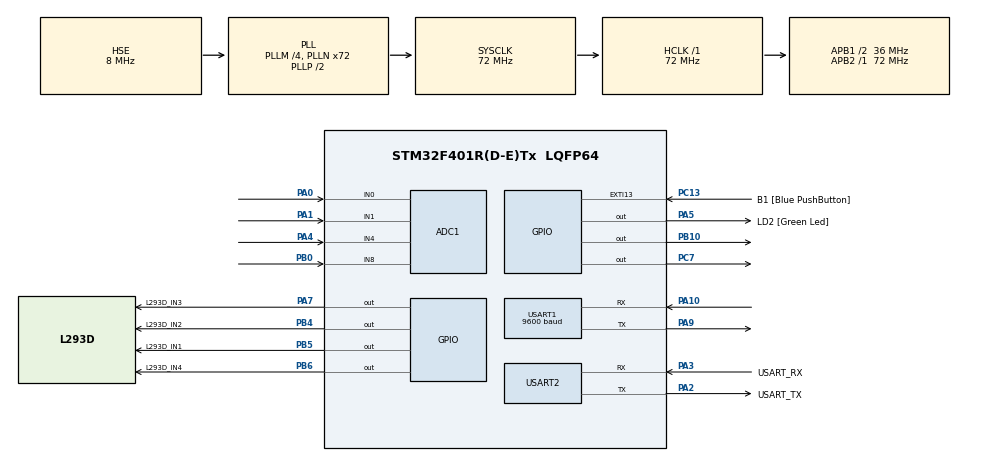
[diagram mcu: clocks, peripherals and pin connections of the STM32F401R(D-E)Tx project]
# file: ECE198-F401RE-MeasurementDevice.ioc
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ADC1.Channel-0\#ChannelRegularConversion=ADC_CHANNEL_0
ADC1.Channel-1\#ChannelRegularConversion=ADC_CHANNEL_1
ADC1.Channel-2\#ChannelRegularConversion=ADC_CHANNEL_4
ADC1.Channel-3\#ChannelRegularConversion=ADC_CHANNEL_8
ADC1.ContinuousConvMode=ENABLE
ADC1.EOCSelection=ADC_EOC_SEQ_CONV
ADC1.NbrOfConversion=4
ADC1.NbrOfConversionFlag=1
ADC1.Rank-0\#ChannelRegularConversion=1
ADC1.Rank-1\#ChannelRegularConversion=2
ADC1.Rank-2\#ChannelRegularConversion=3
ADC1.Rank-3\#ChannelRegularConversion=4
ADC1.SamplingTime-0\#ChannelRegularConversion=ADC_SAMPLETIME_3CYCLES
ADC1.SamplingTime-1\#ChannelRegularConversion=ADC_SAMPLETIME_3CYCLES
ADC1.SamplingTime-2\#ChannelRegularConversion=ADC_SAMPLETIME_3CYCLES
ADC1.SamplingTime-3\#ChannelRegularConversion=ADC_SAMPLETIME_3CYCLES
ADC1.ScanConvMode=ENABLE
ADC1.master=1
Mcu.Family=STM32F4
Mcu.Name=STM32F401R(D-E)Tx
Mcu.Package=LQFP64
NVIC.PriorityGroup=NVIC_PRIORITYGROUP_0
PA0-WKUP.Signal=ADCx_IN0
PA1.Signal=ADCx_IN1
PA10.Mode=Asynchronous
PA10.Signal=USART1_RX
PA13.GPIO_Label=TMS
PA13.Mode=Serial_Wire
PA13.Signal=SYS_JTMS-SWDIO
PA14.GPIO_Label=TCK
PA14.Mode=Serial_Wire
PA14.Signal=SYS_JTCK-SWCLK
PA2.GPIO_Label=USART_TX
PA2.GPIO_Mode=GPIO_MODE_AF_PP
PA2.GPIO_PuPd=GPIO_NOPULL
PA2.GPIO_Speed=GPIO_SPEED_FREQ_LOW
PA2.Mode=Asynchronous
PA2.Signal=USART2_TX
PA3.GPIO_Label=USART_RX
PA3.GPIO_Mode=GPIO_MODE_AF_PP
PA3.GPIO_PuPd=GPIO_NOPULL
PA3.GPIO_Speed=GPIO_SPEED_FREQ_LOW
PA3.Mode=Asynchronous
PA3.Signal=USART2_RX
PA4.Signal=ADCx_IN4
PA5.GPIO_Label=LD2 [Green Led]
PA5.GPIO_Mode=GPIO_MODE_OUTPUT_PP
PA5.GPIO_PuPd=GPIO_NOPULL
PA5.GPIO_Speed=GPIO_SPEED_FREQ_LOW
PA5.Signal=GPIO_Output
PA7.GPIO_Label=L293D_IN3
PA7.Signal=GPIO_Output
PA9.Mode=Asynchronous
PA9.Signal=USART1_TX
PB0.Signal=ADCx_IN8
PB10.Signal=GPIO_Output
PB3.GPIO_Label=SWO
PB3.Signal=SYS_JTDO-SWO
PB4.GPIO_Label=L293D_IN2
PB4.Signal=GPIO_Output
PB5.GPIO_Label=L293D_IN1
PB5.Signal=GPIO_Output
PB6.GPIO_Label=L293D_IN4
PB6.Signal=GPIO_Output
PC13-ANTI_TAMP.GPIO_Label=B1 [Blue PushButton]
PC13-ANTI_TAMP.GPIO_ModeDefaultEXTI=GPIO_MODE_IT_FALLING
PC13-ANTI_TAMP.GPIO_PuPd=GPIO_NOPULL
PC13-ANTI_TAMP.Signal=GPXTI13
PC14-OSC32_IN.Mode=LSE-External-Oscillator
PC14-OSC32_IN.Signal=RCC_OSC32_IN
PC15-OSC32_OUT.Mode=LSE-External-Oscillator
PC15-OSC32_OUT.Signal=RCC_OSC32_OUT
PC7.Signal=GPIO_Output
PH0\ -\ OSC_IN.Mode=HSE-External-Oscillator
PH0\ -\ OSC_IN.Signal=RCC_OSC_IN
PH1\ -\ OSC_OUT.Mode=HSE-External-Oscillator
PH1\ -\ OSC_OUT.Signal=RCC_OSC_OUT
ProjectManager.HeapSize=0x200
ProjectManager.StackSize=0x400
ProjectManager.TargetToolchain=STM32CubeIDE
RCC.48MHZClocksFreq_Value=20571428.57142857
RCC.AHBFreq_Value=72000000
RCC.APB1CLKDivider=RCC_HCLK_DIV2
RCC.APB1Freq_Value=36000000
RCC.APB1TimFreq_Value=72000000
RCC.APB2Freq_Value=72000000
RCC.APB2TimFreq_Value=72000000
RCC.CortexFreq_Value=72000000
RCC.HCLKFreq_Value=72000000
RCC.HSE_VALUE=8000000
RCC.HSI_VALUE=16000000
RCC.PLLM=4
RCC.PLLN=72
RCC.PLLQ=7
RCC.PLLSourceVirtual=RCC_PLLSOURCE_HSE
RCC.SYSCLKFreq_VALUE=72000000
RCC.SYSCLKSource=RCC_SYSCLKSOURCE_PLLCLK
RCC.VCOOutputFreq_Value=144000000
SH.ADCx_IN0.0=ADC1_IN0,IN0
SH.ADCx_IN1.0=ADC1_IN1,IN1
SH.ADCx_IN4.0=ADC1_IN4,IN4
SH.ADCx_IN8.0=ADC1_IN8,IN8
USART1.BaudRate=9600
USART1.VirtualMode=VM_ASYNC
USART2.VirtualMode=VM_ASYNC
board=NUCLEO-F401RE

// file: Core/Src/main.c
/* USER CODE BEGIN Header */
/**
  ******************************************************************************
  * @file           : main.c
  * @brief          : Main program body
  ******************************************************************************
  * @attention
  *
  * Copyright (c) 2024 STMicroelectronics.
  * All rights reserved.
  *
  * This software is licensed under terms that can be found in the LICENSE file
  * in the root directory of this software component.
  * If no LICENSE file comes with this software, it is provided AS-IS.
  *
  ******************************************************************************
  */
/* USER CODE END Header */
#include "main.h"

/* USER CODE BEGIN Includes */
#include <stdio.h>
#include <stdbool.h>
#include <string.h>
/* USER CODE END Includes */

/* USER CODE BEGIN PD */
// 0xFF was chosen since given conditions of system, we will probably
// never send this byte, and if we do, it's in an place where we can simply change it
// to one lower and it won't mater.
#define UART_START_BYTE 0xFF
/* USER CODE END PD */

ADC_HandleTypeDef hadc1;

UART_HandleTypeDef huart1;
UART_HandleTypeDef huart2;

/* USER CODE BEGIN PV */
bool led_enabled = true;
uint32_t diode_1_1;
uint32_t diode_1_2;
uint32_t diode_2_1;
uint32_t diode_2_2;

uint32_t diode_average = 0;
/* USER CODE END PV */

void SystemClock_Config(void);
static void MX_GPIO_Init(void);
static void MX_USART2_UART_Init(void);
static void MX_USART1_UART_Init(void);
static void MX_ADC1_Init(void);
/* USER CODE BEGIN PFP */
#ifdef __GNUC__
#define PUTCHAR_PROTOTYPE int __io_putchar(int ch)
#else
#define PUTCHAR_PROTOTYPE int fputc(int ch, FILE *f)
#endif

void toggle_led();
uint32_t read_diode();
void prepare_uint16_for_uart(uint16_t number, uint8_t startIdx);
HAL_StatusTypeDef send_data_to_uart(float number, uint16_t timeSinceReading);
float ntu(uint32_t raw_value);

/* USER CODE END PFP */

/* USER CODE BEGIN 0 */
uint8_t transmissionData[4];

void UART_Print(const char *str) {
  HAL_UART_Transmit(&huart2, (uint8_t *)str, strlen(str), HAL_MAX_DELAY);
}
/* USER CODE END 0 */

int main(void)
{

  /* MCU Configuration--------------------------------------------------------*/

  /* Reset of all peripherals, Initializes the Flash interface and the Systick. */
  HAL_Init();

  /* USER CODE BEGIN Init */
  uint32_t lastMeasurementTimestamp = 0;

  /* USER CODE END Init */

  /* Configure the system clock */
  SystemClock_Config();

  /* Initialize all configured peripherals */
  MX_GPIO_Init();
  MX_USART2_UART_Init();
  MX_USART1_UART_Init();
  MX_ADC1_Init();
  /* USER CODE BEGIN 2 */
  GPIO_PinState btnStatus = 0;
  GPIO_PinState prevBtnStatus = 0;
  HAL_StatusTypeDef status;
  uint32_t lastBtnPressTimestamp = HAL_GetTick();

  HAL_ADC_Start(&hadc1);

	toggle_led();

  /* USER CODE END 2 */

  /* Infinite loop */
  /* USER CODE BEGIN WHILE */
  while (1)
  {
//    btnStatus = !HAL_GPIO_ReadPin(GPIOC, GPIO_PIN_13);
//    if (prevBtnStatus != btnStatus) {
//    	lastBtnPressTimestamp = HAL_GetTick();
//    }
//
//    uint16_t timeSinceLastBtnPress = (uint16_t) ((HAL_GetTick() - lastBtnPressTimestamp) / 1000);
//    if (btnStatus) {
//    	status = send_data_to_uart(25.5, timeSinceLastBtnPress);
//    } else {
//    	status = send_data_to_uart(0.5, timeSinceLastBtnPress);
//    }
//
//    HAL_GPIO_WritePin(GPIOA, GPIO_PIN_5, status != HAL_OK);
//    prevBtnStatus = btnStatus;

    // LED Code
	uint16_t timeSinceLastMeasurement = (uint16_t) ((HAL_GetTick() - lastMeasurementTimestamp) / 1000);
	if(timeSinceLastMeasurement >= 1) {
		lastMeasurementTimestamp = HAL_GetTick();

		diode_average = read_diode();
		printf("Diodes \n\r(1, 1): %lu \r\n(1, 2): %lu\r\n(2, 1): %lu\r\n(2, 2): %lu\r\nAverage: %lu\r\n", diode_1_1, diode_1_2, diode_2_1, diode_2_2, diode_average);
		printf("NTU: %lu\r\n\n", (uint32_t) (ntu(diode_average) * 100));
	}
	send_data_to_uart(ntu(diode_average), timeSinceLastMeasurement);

    /* USER CODE END WHILE */

    /* USER CODE BEGIN 3 */
  }
HAL_ADC_Stop(&hadc1);

  /* USER CODE END 3 */
}

void SystemClock_Config(void)
{
  RCC_OscInitTypeDef RCC_OscInitStruct = {0};
  RCC_ClkInitTypeDef RCC_ClkInitStruct = {0};

  /** Configure the main internal regulator output voltage
  */
  __HAL_RCC_PWR_CLK_ENABLE();
  __HAL_PWR_VOLTAGESCALING_CONFIG(PWR_REGULATOR_VOLTAGE_SCALE2);

  /** Initializes the RCC Oscillators according to the specified parameters
  * in the RCC_OscInitTypeDef structure.
  */
  RCC_OscInitStruct.OscillatorType = RCC_OSCILLATORTYPE_HSE;
  RCC_OscInitStruct.HSEState = RCC_HSE_ON;
  RCC_OscInitStruct.PLL.PLLState = RCC_PLL_ON;
  RCC_OscInitStruct.PLL.PLLSource = RCC_PLLSOURCE_HSE;
  RCC_OscInitStruct.PLL.PLLM = 4;
  RCC_OscInitStruct.PLL.PLLN = 72;
  RCC_OscInitStruct.PLL.PLLP = RCC_PLLP_DIV2;
  RCC_OscInitStruct.PLL.PLLQ = 7;
  if (HAL_RCC_OscConfig(&RCC_OscInitStruct) != HAL_OK)
  {
    Error_Handler();
  }

  /** Initializes the CPU, AHB and APB buses clocks
  */
  RCC_ClkInitStruct.ClockType = RCC_CLOCKTYPE_HCLK|RCC_CLOCKTYPE_SYSCLK
                              |RCC_CLOCKTYPE_PCLK1|RCC_CLOCKTYPE_PCLK2;
  RCC_ClkInitStruct.SYSCLKSource = RCC_SYSCLKSOURCE_PLLCLK;
  RCC_ClkInitStruct.AHBCLKDivider = RCC_SYSCLK_DIV1;
  RCC_ClkInitStruct.APB1CLKDivider = RCC_HCLK_DIV2;
  RCC_ClkInitStruct.APB2CLKDivider = RCC_HCLK_DIV1;

  if (HAL_RCC_ClockConfig(&RCC_ClkInitStruct, FLASH_LATENCY_2) != HAL_OK)
  {
    Error_Handler();
  }
}

static void MX_ADC1_Init(void)
{

  ADC_ChannelConfTypeDef sConfig = {0};

  /** Configure the global features of the ADC (Clock, Resolution, Data Alignment and number of conversion)
  */
  hadc1.Instance = ADC1;
  hadc1.Init.ClockPrescaler = ADC_CLOCK_SYNC_PCLK_DIV2;
  hadc1.Init.Resolution = ADC_RESOLUTION_12B;
  hadc1.Init.ScanConvMode = ENABLE;
  hadc1.Init.ContinuousConvMode = ENABLE;
  hadc1.Init.DiscontinuousConvMode = DISABLE;
  hadc1.Init.ExternalTrigConvEdge = ADC_EXTERNALTRIGCONVEDGE_NONE;
  hadc1.Init.ExternalTrigConv = ADC_SOFTWARE_START;
  hadc1.Init.DataAlign = ADC_DATAALIGN_RIGHT;
  hadc1.Init.NbrOfConversion = 4;
  hadc1.Init.DMAContinuousRequests = DISABLE;
  hadc1.Init.EOCSelection = ADC_EOC_SEQ_CONV;
  if (HAL_ADC_Init(&hadc1) != HAL_OK)
  {
    Error_Handler();
  }

  /** Configure for the selected ADC regular channel its corresponding rank in the sequencer and its sample time.
  */
  sConfig.Channel = ADC_CHANNEL_0;
  sConfig.Rank = 1;
  sConfig.SamplingTime = ADC_SAMPLETIME_3CYCLES;
  if (HAL_ADC_ConfigChannel(&hadc1, &sConfig) != HAL_OK)
  {
    Error_Handler();
  }

  /** Configure for the selected ADC regular channel its corresponding rank in the sequencer and its sample time.
  */
  sConfig.Channel = ADC_CHANNEL_1;
  sConfig.Rank = 2;
  if (HAL_ADC_ConfigChannel(&hadc1, &sConfig) != HAL_OK)
  {
    Error_Handler();
  }

  /** Configure for the selected ADC regular channel its corresponding rank in the sequencer and its sample time.
  */
  sConfig.Channel = ADC_CHANNEL_4;
  sConfig.Rank = 3;
  if (HAL_ADC_ConfigChannel(&hadc1, &sConfig) != HAL_OK)
  {
    Error_Handler();
  }

  /** Configure for the selected ADC regular channel its corresponding rank in the sequencer and its sample time.
  */
  sConfig.Channel = ADC_CHANNEL_8;
  sConfig.Rank = 4;
  if (HAL_ADC_ConfigChannel(&hadc1, &sConfig) != HAL_OK)
  {
    Error_Handler();
  }

}

static void MX_USART1_UART_Init(void)
{

  huart1.Instance = USART1;
  huart1.Init.BaudRate = 9600;
  huart1.Init.WordLength = UART_WORDLENGTH_8B;
  huart1.Init.StopBits = UART_STOPBITS_1;
  huart1.Init.Parity = UART_PARITY_NONE;
  huart1.Init.Mode = UART_MODE_TX_RX;
  huart1.Init.HwFlowCtl = UART_HWCONTROL_NONE;
  huart1.Init.OverSampling = UART_OVERSAMPLING_16;
  if (HAL_UART_Init(&huart1) != HAL_OK)
  {
    Error_Handler();
  }

}

static void MX_USART2_UART_Init(void)
{

  huart2.Instance = USART2;
  huart2.Init.BaudRate = 115200;
  huart2.Init.WordLength = UART_WORDLENGTH_8B;
  huart2.Init.StopBits = UART_STOPBITS_1;
  huart2.Init.Parity = UART_PARITY_NONE;
  huart2.Init.Mode = UART_MODE_TX_RX;
  huart2.Init.HwFlowCtl = UART_HWCONTROL_NONE;
  huart2.Init.OverSampling = UART_OVERSAMPLING_16;
  if (HAL_UART_Init(&huart2) != HAL_OK)
  {
    Error_Handler();
  }

}

static void MX_GPIO_Init(void)
{
  GPIO_InitTypeDef GPIO_InitStruct = {0};

  /* GPIO Ports Clock Enable */
  __HAL_RCC_GPIOC_CLK_ENABLE();
  __HAL_RCC_GPIOH_CLK_ENABLE();
  __HAL_RCC_GPIOA_CLK_ENABLE();
  __HAL_RCC_GPIOB_CLK_ENABLE();

  /*Configure GPIO pin Output Level */
  HAL_GPIO_WritePin(GPIOA, LD2_Pin|L293D_IN3_Pin, GPIO_PIN_RESET);

  /*Configure GPIO pin Output Level */
  HAL_GPIO_WritePin(GPIOB, GPIO_PIN_10|L293D_IN2_Pin|L293D_IN1_Pin|L293D_IN4_Pin, GPIO_PIN_RESET);

  /*Configure GPIO pin Output Level */
  HAL_GPIO_WritePin(GPIOC, GPIO_PIN_7, GPIO_PIN_RESET);

  /*Configure GPIO pin : B1_Pin */
  GPIO_InitStruct.Pin = B1_Pin;
  GPIO_InitStruct.Mode = GPIO_MODE_IT_FALLING;
  GPIO_InitStruct.Pull = GPIO_NOPULL;
  HAL_GPIO_Init(B1_GPIO_Port, &GPIO_InitStruct);

  /*Configure GPIO pins : LD2_Pin L293D_IN3_Pin */
  GPIO_InitStruct.Pin = LD2_Pin|L293D_IN3_Pin;
  GPIO_InitStruct.Mode = GPIO_MODE_OUTPUT_PP;
  GPIO_InitStruct.Pull = GPIO_NOPULL;
  GPIO_InitStruct.Speed = GPIO_SPEED_FREQ_LOW;
  HAL_GPIO_Init(GPIOA, &GPIO_InitStruct);

  /*Configure GPIO pins : PB10 L293D_IN2_Pin L293D_IN1_Pin L293D_IN4_Pin */
  GPIO_InitStruct.Pin = GPIO_PIN_10|L293D_IN2_Pin|L293D_IN1_Pin|L293D_IN4_Pin;
  GPIO_InitStruct.Mode = GPIO_MODE_OUTPUT_PP;
  GPIO_InitStruct.Pull = GPIO_NOPULL;
  GPIO_InitStruct.Speed = GPIO_SPEED_FREQ_LOW;
  HAL_GPIO_Init(GPIOB, &GPIO_InitStruct);

  /*Configure GPIO pin : PC7 */
  GPIO_InitStruct.Pin = GPIO_PIN_7;
  GPIO_InitStruct.Mode = GPIO_MODE_OUTPUT_PP;
  GPIO_InitStruct.Pull = GPIO_NOPULL;
  GPIO_InitStruct.Speed = GPIO_SPEED_FREQ_LOW;
  HAL_GPIO_Init(GPIOC, &GPIO_InitStruct);

}

/* USER CODE BEGIN 4 */
PUTCHAR_PROTOTYPE
{
  HAL_UART_Transmit(&huart2, (uint8_t *)&ch, 1, HAL_MAX_DELAY);
  return ch;
}

void toggle_led() {
//	led_enabled = !led_enabled;
	led_enabled = true;
	HAL_GPIO_WritePin(GPIOB, GPIO_PIN_10, led_enabled);
	HAL_GPIO_WritePin(GPIOC, GPIO_PIN_7, led_enabled);
}

//void read_diode() {
//	HAL_ADC_PollForConversion(&hadc1, HAL_MAX_DELAY);
//	diode_1_1 = HAL_ADC_GetValue(&hadc1);
//
////	HAL_ADC_PollForConversion(&hadc1, HAL_MAX_DELAY);
//	diode_1_2 = HAL_ADC_GetValue(&hadc1);
//
////	HAL_ADC_PollForConversion(&hadc1, HAL_MAX_DELAY);
//	diode_2_1 = HAL_ADC_GetValue(&hadc1);
//
////	HAL_ADC_PollForConversion(&hadc1, HAL_MAX_DELAY);
//	diode_2_2 = HAL_ADC_GetValue(&hadc1);
//}

uint32_t read_diode() {
    uint32_t sample_sum = 0;

    // Take 5 samples of the average of all photodiodes
    for (int i = 0; i < 5; i++) {
        // Wait for the full sequence conversion to complete
        HAL_ADC_PollForConversion(&hadc1, HAL_MAX_DELAY);

        // Retrieve the values for each channel in the sequence
        diode_1_1 = HAL_ADC_GetValue(&hadc1);
        diode_1_2 = HAL_ADC_GetValue(&hadc1);
        diode_2_1 = HAL_ADC_GetValue(&hadc1);
        diode_2_2 = HAL_ADC_GetValue(&hadc1);

        // Compute the average of the four photodiodes for this sample
        uint32_t current_sample_average = (diode_1_1 + diode_1_2 + diode_2_1 + diode_2_2) / 4;

        // Add this sample's average to the total sum
        sample_sum += current_sample_average;

        // Wait 50 ms before the next sample
        if(i != 3) {
			HAL_Delay(50);
        }
    }

    // Compute the final filtered value as the average of the 4 samples
    return sample_sum / 5;
}

void prepare_uint16_for_uart(uint16_t number, uint8_t startIdx) {
	// follows little endian
	transmissionData[startIdx + 0] = (uint8_t)(number & 0xff); // Lower byte first
	transmissionData[startIdx + 1] = (uint8_t)((number >> 8) & 0xff); // Higher byte second

	// Make sure we never include the start byte in our messages
	if (transmissionData[startIdx + 0] == UART_START_BYTE) {
		transmissionData[startIdx + 0] = UART_START_BYTE - 1;
	}
	if (transmissionData[startIdx + 1] == 0xff) {
		transmissionData[startIdx + 1] = UART_START_BYTE - 1;
	}
}

float ntu(uint32_t raw_value) {
	int32_t value1 = 3390;
	int32_t value2 = 3370;
	float ntu1 = 20.0f;

//	printf("%ld\r\n", (int32_t)(((int32_t)raw_value)-value1));
	return ((float) ((-ntu1/(float)(value1-value2))*(float)((int32_t)((int32_t) raw_value)-value1)));
}

void moving_average() {

}

HAL_StatusTypeDef send_data_to_uart(float number, uint16_t timeSinceLastReading) {
	if ((number * 100) > 65535 || timeSinceLastReading > 65535) {
		return HAL_ERROR; // Out of range
	}

    // Start byte for synchronization
    uint8_t startByte = UART_START_BYTE;

    // Prepare the data
    prepare_uint16_for_uart((uint16_t)(number * 100), 0);
    prepare_uint16_for_uart(timeSinceLastReading, 2);

    // Transmit start byte followed by the data
    HAL_UART_Transmit(&huart1, &startByte, 1, 500);
    HAL_StatusTypeDef status = HAL_UART_Transmit(&huart1, transmissionData, 4, 500);

    HAL_Delay(10); // Delay to ensure stable UART transmission
    return status;
}

/* USER CODE END 4 */

void Error_Handler(void)
{
  __disable_irq();
  while (1)
  {
  }
}
